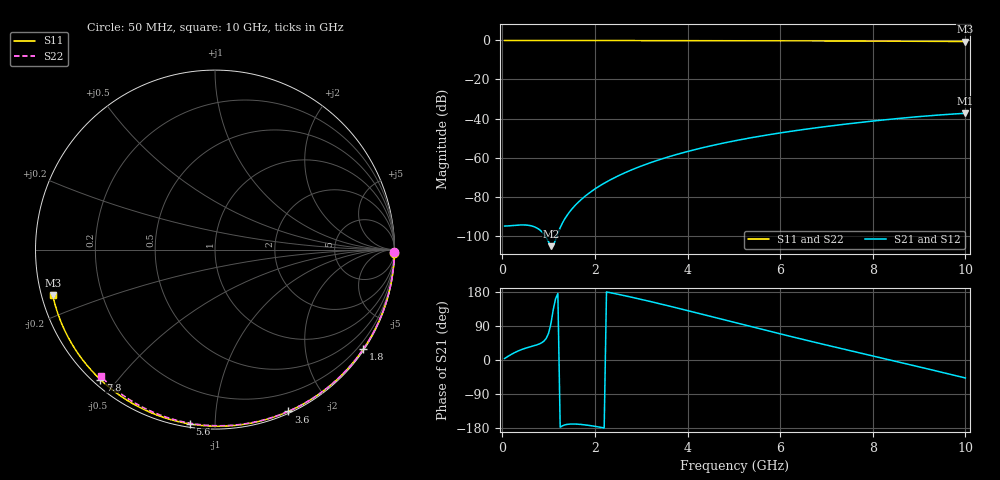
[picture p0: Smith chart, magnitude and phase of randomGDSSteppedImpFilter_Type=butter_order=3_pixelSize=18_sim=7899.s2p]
! freq	dB(S11)	phase(S11)	dB(S12)	phase(S12)
!  dB(S21)	phase(S21)	dB(S22)	phase(S22)
!S-par simulation data
#  GHz  S  DB  R 50
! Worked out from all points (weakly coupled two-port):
!   200 points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, 50 MHz to 10 GHz, reference 50 ohm
!   highest |S21| = -37.33 dB at 10 GHz (marker M1); lowest = -105.4 dB at 1.05 GHz (marker M2)
!   lowest |S11| = -0.5 dB at 10 GHz (marker M3), VSWR 31.85, Z = 1.6 - j6.92 ohm
!   |S11| at or under -10 dB: nowhere
!   |S22| runs from -0.4 to 0.0 dB; largest |S21 - S12| = 0
!   S11 on the Smith chart (normalised r, x): 50 MHz: open; 1.8 GHz: 0.03, -3.29; 3.6 GHz: 0.02, -1.55; 5.6 GHz: 0.02, -0.87; 7.8 GHz: 0.02, -0.45; 10 GHz: 0.03, -0.14
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0.05  -0.00 -1.0  -95.11 3.9  -95.11 3.9  -0.00 -0.8
0.55  -0.01 -10.5  -94.66 32.9  -94.66 32.9  -0.01 -8.4
1.05  -0.02 -19.9  -105.40 96.1  -105.40 96.1  -0.02 -15.9
1.75  -0.04 -32.9  -80.55 -170.7  -80.55 -170.7  -0.03 -26.4
1.8  -0.04 -33.8  -79.57 -171.4  -79.57 -171.4  -0.03 -27.1
1.95  -0.05 -36.5  -76.91 -174.0  -76.91 -174.0  -0.04 -29.3
2.1  -0.05 -39.3  -74.57 -177.1  -74.57 -177.1  -0.04 -31.5
2.45  -0.06 -45.6  -69.98 174.7  -69.98 174.7  -0.05 -36.6
2.65  -0.06 -49.1  -67.75 169.5  -67.75 169.5  -0.05 -39.5
2.9  -0.07 -53.6  -65.26 162.8  -65.26 162.8  -0.06 -43.1
3.4  -0.08 -62.2  -61.03 148.4  -61.03 148.4  -0.07 -50.2
3.6  -0.09 -65.7  -59.55 142.5  -59.55 142.5  -0.07 -53.0
4.3  -0.11 -77.4  -55.10 121.2  -55.10 121.2  -0.09 -62.6
5.05  -0.14 -89.6  -51.27 98.1  -51.27 98.1  -0.11 -72.6
5.6  -0.16 -98.2  -48.91 81.1  -48.91 81.1  -0.13 -79.8
6.15  -0.19 -106.7  -46.84 64.5  -46.84 64.5  -0.15 -86.7
6.7  -0.22 -115.1  -44.99 48.2  -44.99 48.2  -0.18 -93.6
7.25  -0.26 -123.3  -43.33 32.2  -43.33 32.2  -0.21 -100.3
7.8  -0.31 -131.4  -41.82 16.4  -41.82 16.4  -0.25 -106.8
8.35  -0.35 -139.5  -40.44 0.7  -40.44 0.7  -0.29 -113.3
9.2  -0.44 -152.1  -38.61 -23.9  -38.61 -23.9  -0.36 -123.1
10  -0.55 -164.2  -37.33 -47.5  -37.33 -47.5  -0.45 -132.2
